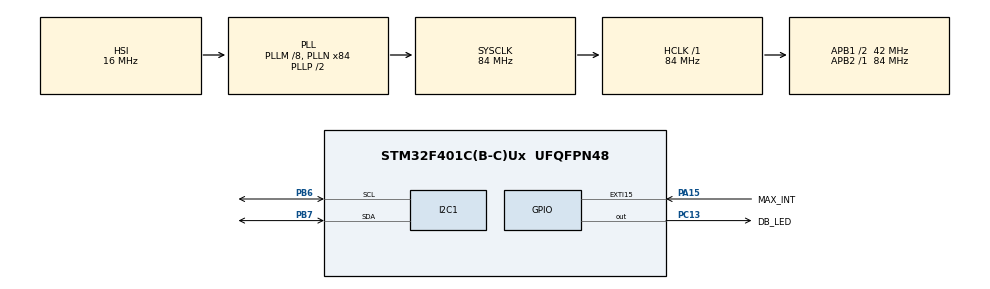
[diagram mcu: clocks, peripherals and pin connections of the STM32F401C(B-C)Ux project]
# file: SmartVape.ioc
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Mcu.Family=STM32F4
RCC.CortexFreq_Value=84000000
PC13-ANTI_TAMP.GPIO_Label=DB_LED
VP_SYS_VS_tim5.Mode=TIM5
RCC.APB1CLKDivider=RCC_HCLK_DIV2
RCC.SYSCLKSource=RCC_SYSCLKSOURCE_PLLCLK
ProjectManager.StackSize=0x400
PA13.Signal=SYS_JTMS-SWDIO
PA15.GPIO_Label=MAX_INT
ProjectManager.TargetToolchain=STM32CubeIDE
NVIC.TIM5_IRQn=true\:0\:0\:false\:false\:true\:false\:true
I2C1.I2C_Mode=I2C_Fast
PA15.GPIO_ModeDefaultEXTI=GPIO_MODE_IT_FALLING
RCC.HCLKFreq_Value=84000000
RCC.APB2TimFreq_Value=84000000
PB6.Signal=I2C1_SCL
PB6.Mode=I2C
RCC.LSE_VALUE=32768
RCC.AHBFreq_Value=84000000
NVIC.EXTI15_10_IRQn=true\:0\:0\:false\:false\:true\:true\:true
RCC.HSE_VALUE=25000000
PB3.Mode=Trace_Asynchronous_SW
board=custom
PC13-ANTI_TAMP.Signal=GPIO_Output
RCC.VCOOutputFreq_Value=168000000
RCC.APB2Freq_Value=84000000
PA14.Mode=Trace_Asynchronous_SW
PB7.Signal=I2C1_SDA
PB7.GPIO_PuPdOD=GPIO_NOPULL
PA13.Mode=Trace_Asynchronous_SW
Mcu.Name=STM32F401C(B-C)Ux
PB6.GPIO_PuPdOD=GPIO_NOPULL
RCC.48MHZClocksFreq_Value=42000000
PB3.Signal=SYS_JTDO-SWO
RCC.SYSCLKFreq_VALUE=84000000
Mcu.Package=UFQFPN48
NVIC.TimeBase=TIM5_IRQn
PB7.Mode=I2C
NVIC.TimeBaseIP=TIM5
PA14.Signal=SYS_JTCK-SWCLK
PA15.Signal=GPXTI15
ProjectManager.HeapSize=0x200
RCC.HSI_VALUE=16000000
NVIC.PriorityGroup=NVIC_PRIORITYGROUP_4
RCC.PLLM=8
RCC.PLLN=84
RCC.APB1TimFreq_Value=84000000
RCC.APB1Freq_Value=42000000

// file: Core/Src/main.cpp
/* USER CODE BEGIN Header */
/**
  ******************************************************************************
  * @file           : main.c
  * @brief          : Main program body
  ******************************************************************************
  * @attention
  *
  * <h2><center>&copy; Copyright (c) 2021 STMicroelectronics.
  * All rights reserved.</center></h2>
  *
  * This software component is licensed by ST under BSD 3-Clause license,
  * the "License"; You may not use this file except in compliance with the
  * License. You may obtain a copy of the License at:
  *                        opensource.org/licenses/BSD-3-Clause
  *
  ******************************************************************************
  */
/* USER CODE END Header */
#include "main.h"
#include "gpio.h"
#include "i2c.h"
/* USER CODE BEGIN Includes */
#include "FreeRTOS.h"
#include "FreeRTOSConfig.h"
#include "task.h"

#include "stdio.h"
/* USER CODE END Includes */

void SystemClock_Config(void);
/* USER CODE BEGIN PFP */
static void db_led_task_handler(void* params);
TaskHandle_t db_led_task_handle;
static void max30102_task_handler(void* params);
TaskHandle_t max30102_task_handle;
//static void max30102_print_task_handler(void* params);
//TaskHandle_t max30102_print_task_handle;

extern I2C_HandleTypeDef hi2c1;

/* USER CODE END PFP */

int main(void)
{

  /* MCU Configuration--------------------------------------------------------*/

  /* Reset of all peripherals, Initializes the Flash interface and the Systick. */
  HAL_Init();

  /* Configure the system clock */
  SystemClock_Config();

  /* Initialize all configured peripherals */
  MX_GPIO_Init();
  MX_I2C1_Init();
  /* USER CODE BEGIN 2 */
  configASSERT(xTaskCreate(db_led_task_handler, "debug_led_task", 200, NULL, 3, &db_led_task_handle) == pdPASS);
  auto const status = xTaskCreate(max30102_task_handler, "max30102_task", 5000, NULL, 2, &max30102_task_handle);
  configASSERT(status == pdPASS);

  vTaskStartScheduler();
  /* USER CODE END 2 */

  /* Infinite loop */
  while (1)
  {

  }
}

void SystemClock_Config(void)
{
  RCC_OscInitTypeDef RCC_OscInitStruct = {0};
  RCC_ClkInitTypeDef RCC_ClkInitStruct = {0};

  /** Configure the main internal regulator output voltage
  */
  __HAL_RCC_PWR_CLK_ENABLE();
  __HAL_PWR_VOLTAGESCALING_CONFIG(PWR_REGULATOR_VOLTAGE_SCALE2);
  /** Initializes the RCC Oscillators according to the specified parameters
  * in the RCC_OscInitTypeDef structure.
  */
  RCC_OscInitStruct.OscillatorType = RCC_OSCILLATORTYPE_HSI;
  RCC_OscInitStruct.HSIState = RCC_HSI_ON;
  RCC_OscInitStruct.HSICalibrationValue = RCC_HSICALIBRATION_DEFAULT;
  RCC_OscInitStruct.PLL.PLLState = RCC_PLL_ON;
  RCC_OscInitStruct.PLL.PLLSource = RCC_PLLSOURCE_HSI;
  RCC_OscInitStruct.PLL.PLLM = 8;
  RCC_OscInitStruct.PLL.PLLN = 84;
  RCC_OscInitStruct.PLL.PLLP = RCC_PLLP_DIV2;
  RCC_OscInitStruct.PLL.PLLQ = 4;
  if (HAL_RCC_OscConfig(&RCC_OscInitStruct) != HAL_OK)
  {
    Error_Handler();
  }
  /** Initializes the CPU, AHB and APB buses clocks
  */
  RCC_ClkInitStruct.ClockType = RCC_CLOCKTYPE_HCLK|RCC_CLOCKTYPE_SYSCLK
                              |RCC_CLOCKTYPE_PCLK1|RCC_CLOCKTYPE_PCLK2;
  RCC_ClkInitStruct.SYSCLKSource = RCC_SYSCLKSOURCE_PLLCLK;
  RCC_ClkInitStruct.AHBCLKDivider = RCC_SYSCLK_DIV1;
  RCC_ClkInitStruct.APB1CLKDivider = RCC_HCLK_DIV2;
  RCC_ClkInitStruct.APB2CLKDivider = RCC_HCLK_DIV1;

  if (HAL_RCC_ClockConfig(&RCC_ClkInitStruct, FLASH_LATENCY_2) != HAL_OK)
  {
    Error_Handler();
  }
}

/* USER CODE BEGIN 4 */

static void db_led_task_handler(void* params){

	while(1){
		HAL_GPIO_TogglePin(DB_LED_GPIO_Port, DB_LED_Pin);
		vTaskDelay(500);
	}
}

static void max30102_task_handler(void* params){
	auto const status = Max30102_Init(&hi2c1);
	configASSERT(status == MAX30102_OK);

	while(1){
		Max30102_Task();
		printf("%d\n", int(get_hr()));

		// with 10 ms system crashes - needs testing
		vTaskDelay(50);
	}
}

void HAL_GPIO_EXTI_Callback(uint16_t GPIO_Pin)
{
	if (GPIO_Pin == MAX_INT_Pin)
	{
		Max30102_InterruptCallback();
	}
}

/* USER CODE END 4 */

void HAL_TIM_PeriodElapsedCallback(TIM_HandleTypeDef *htim)
{
 if (htim->Instance == TIM5) {
   HAL_IncTick();
 }
}

void Error_Handler(void)
{
  __disable_irq();
  while (1)
  {
  }
}

/************************ (C) COPYRIGHT STMicroelectronics *****END OF FILE****/
